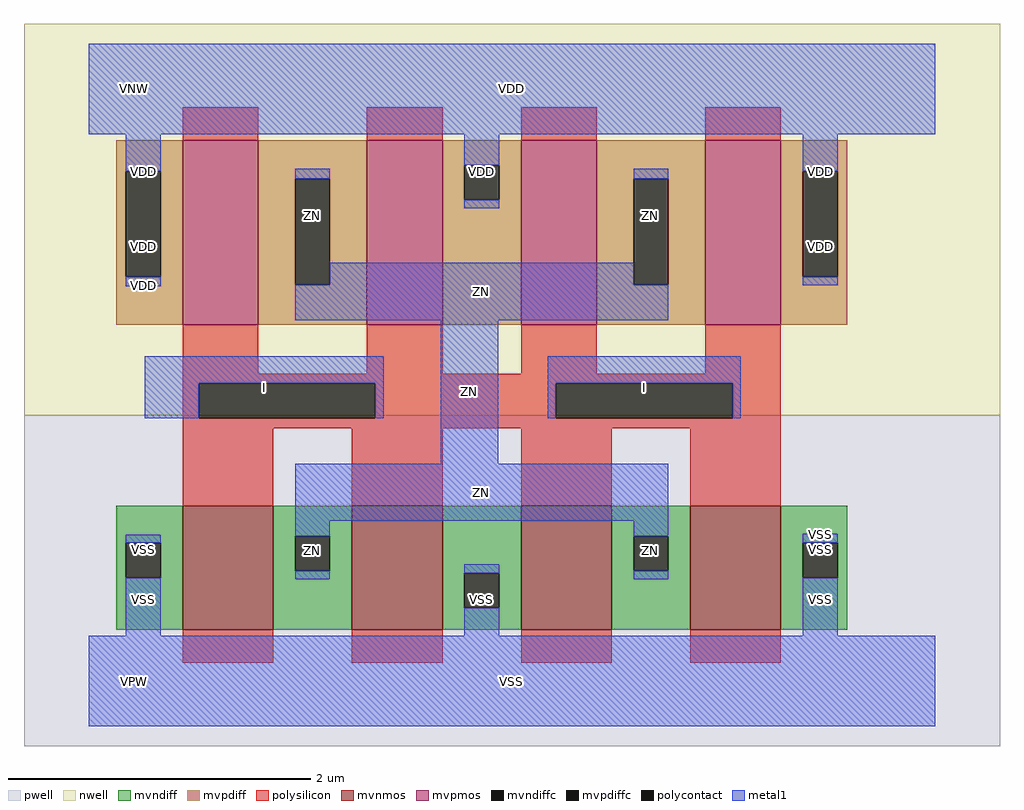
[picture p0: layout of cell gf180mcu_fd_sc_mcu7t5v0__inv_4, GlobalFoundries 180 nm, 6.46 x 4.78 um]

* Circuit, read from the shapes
.subckt gf180mcu_fd_sc_mcu7t5v0__inv_4 I ZN VDD VNW VPW VSS
XM1 ZN I VSS VPW nfet_06v0 w=0.82u l=0.6u m=4
XM2 ZN I VDD VNW pfet_06v0 w=1.22u l=0.5u m=4
.ends

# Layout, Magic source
magic
tech gf180mcuD
magscale 1 10
<< nwell >>
rect -86 352 1206 870
<< pwell >>
rect -86 -86 1206 352
<< mvnmos >>
rect 124 68 244 232
rect 348 68 468 232
rect 572 68 692 232
rect 796 68 916 232
<< mvpmos >>
rect 124 472 224 716
rect 368 472 468 716
rect 572 472 672 716
rect 816 472 916 716
<< mvndiff >>
rect 36 183 124 232
rect 36 137 49 183
rect 95 137 124 183
rect 36 68 124 137
rect 244 192 348 232
rect 244 146 273 192
rect 319 146 348 192
rect 244 68 348 146
rect 468 143 572 232
rect 468 97 497 143
rect 543 97 572 143
rect 468 68 572 97
rect 692 192 796 232
rect 692 146 721 192
rect 767 146 796 192
rect 692 68 796 146
rect 916 183 1004 232
rect 916 137 945 183
rect 991 137 1004 183
rect 916 68 1004 137
<< mvpdiff >>
rect 36 675 124 716
rect 36 535 49 675
rect 95 535 124 675
rect 36 472 124 535
rect 224 665 368 716
rect 224 525 273 665
rect 319 525 368 665
rect 224 472 368 525
rect 468 683 572 716
rect 468 637 497 683
rect 543 637 572 683
rect 468 472 572 637
rect 672 665 816 716
rect 672 525 721 665
rect 767 525 816 665
rect 672 472 816 525
rect 916 675 1004 716
rect 916 535 945 675
rect 991 535 1004 675
rect 916 472 1004 535
<< mvndiffc >>
rect 49 137 95 183
rect 273 146 319 192
rect 497 97 543 143
rect 721 146 767 192
rect 945 137 991 183
<< mvpdiffc >>
rect 49 535 95 675
rect 273 525 319 665
rect 497 637 543 683
rect 721 525 767 665
rect 945 535 991 675
<< polysilicon >>
rect 124 716 224 760
rect 368 716 468 760
rect 572 716 672 760
rect 816 716 916 760
rect 124 407 224 472
rect 368 407 468 472
rect 572 407 672 472
rect 816 407 916 472
rect 124 394 916 407
rect 124 348 145 394
rect 379 348 618 394
rect 852 348 916 394
rect 124 335 916 348
rect 124 232 244 335
rect 348 232 468 335
rect 572 232 692 335
rect 796 232 916 335
rect 124 24 244 68
rect 348 24 468 68
rect 572 24 692 68
rect 796 24 916 68
<< polycontact >>
rect 145 348 379 394
rect 618 348 852 394
<< metal1 >>
rect 0 724 1120 844
rect 49 675 95 724
rect 497 683 543 724
rect 49 523 95 535
rect 273 665 319 678
rect 497 626 543 637
rect 721 665 767 678
rect 319 525 721 554
rect 273 478 767 525
rect 945 675 991 724
rect 945 524 991 535
rect 74 394 390 430
rect 74 348 145 394
rect 379 348 390 394
rect 466 288 542 478
rect 607 394 863 430
rect 607 348 618 394
rect 852 348 863 394
rect 273 212 767 288
rect 49 183 95 194
rect 49 60 95 137
rect 273 192 319 212
rect 721 192 767 212
rect 273 135 319 146
rect 497 143 543 155
rect 721 135 767 146
rect 945 183 991 195
rect 497 60 543 97
rect 945 60 991 137
rect 0 -60 1120 60
<< labels >>
flabel metal1 s 945 194 991 195 0 FreeSans 400 0 0 0 VSS
port 6 nsew ground bidirectional abutment
flabel metal1 s 721 554 767 678 0 FreeSans 400 0 0 0 ZN
port 2 nsew default output
flabel metal1 s 74 348 390 430 0 FreeSans 400 0 0 0 I
port 1 nsew default input
flabel metal1 s 0 724 1120 844 0 FreeSans 400 0 0 0 VDD
port 3 nsew power bidirectional abutment
flabel nwell s 10 734 110 834 0 FreeSans 400 0 0 0 VNW
port 4 nsew power bidirectional
flabel pwell s 10 -50 110 50 0 FreeSans 400 0 0 0 VPW
port 5 nsew ground bidirectional
rlabel metal1 s 607 348 863 430 1 I
port 1 nsew default input
rlabel metal1 s 273 554 319 678 1 ZN
port 2 nsew default output
rlabel metal1 s 273 478 767 554 1 ZN
port 2 nsew default output
rlabel metal1 s 466 288 542 478 1 ZN
port 2 nsew default output
rlabel metal1 s 273 212 767 288 1 ZN
port 2 nsew default output
rlabel metal1 s 721 135 767 212 1 ZN
port 2 nsew default output
rlabel metal1 s 273 135 319 212 1 ZN
port 2 nsew default output
rlabel metal1 s 945 626 991 724 1 VDD
port 3 nsew power bidirectional abutment
rlabel metal1 s 497 626 543 724 1 VDD
port 3 nsew power bidirectional abutment
rlabel metal1 s 49 626 95 724 1 VDD
port 3 nsew power bidirectional abutment
rlabel metal1 s 945 524 991 626 1 VDD
port 3 nsew power bidirectional abutment
rlabel metal1 s 49 524 95 626 1 VDD
port 3 nsew power bidirectional abutment
rlabel metal1 s 49 523 95 524 1 VDD
port 3 nsew power bidirectional abutment
rlabel metal1 s 945 155 991 194 1 VSS
port 6 nsew ground bidirectional abutment
rlabel metal1 s 49 155 95 194 1 VSS
port 6 nsew ground bidirectional abutment
rlabel metal1 s 945 60 991 155 1 VSS
port 6 nsew ground bidirectional abutment
rlabel metal1 s 497 60 543 155 1 VSS
port 6 nsew ground bidirectional abutment
rlabel metal1 s 49 60 95 155 1 VSS
port 6 nsew ground bidirectional abutment
rlabel metal1 s 0 -60 1120 60 1 VSS
port 6 nsew ground bidirectional abutment
<< properties >>
string FIXED_BBOX 0 0 1120 784
string GDS_END 485538
string GDS_FILE $PDKPATH/libs.ref/gf180mcu_fd_sc_mcu7t5v0/gds/gf180mcu_fd_sc_mcu7t5v0.gds
string GDS_START 482078
string LEFclass core
string LEFsite GF018hv5v_mcu_sc7
string LEFsymmetry X Y
<< end >>
